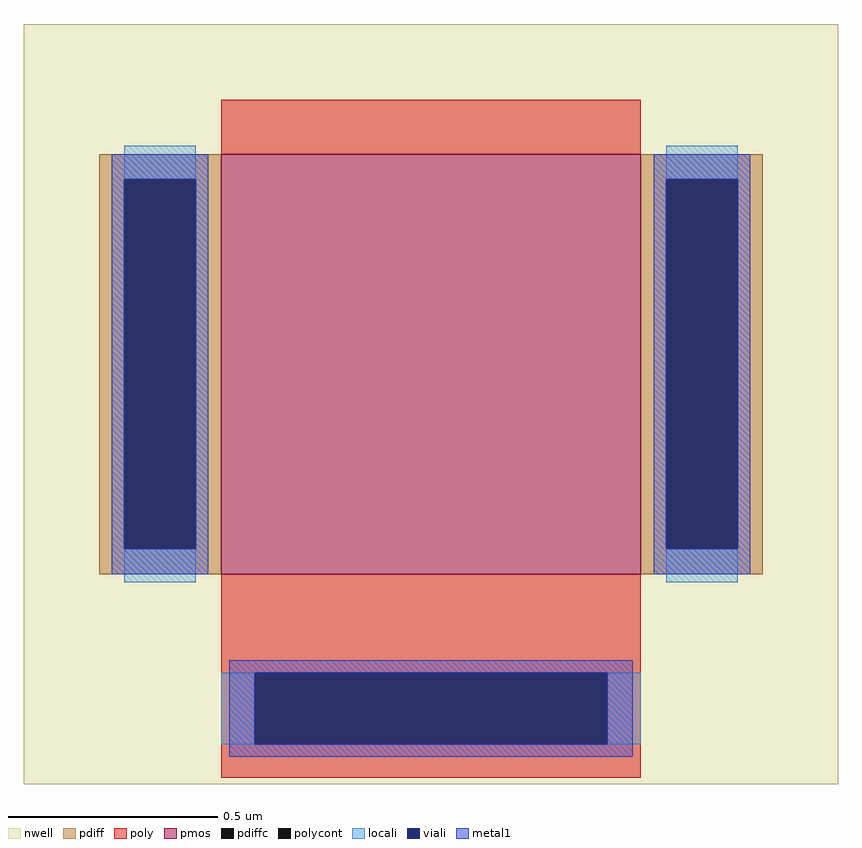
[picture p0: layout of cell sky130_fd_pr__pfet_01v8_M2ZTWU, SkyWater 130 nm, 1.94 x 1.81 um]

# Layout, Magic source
magic
tech sky130A
magscale 1 2
<< nwell >>
rect -194 -164 194 198
<< pmos >>
rect -100 -64 100 136
<< pdiff >>
rect -158 124 -100 136
rect -158 -52 -146 124
rect -112 -52 -100 124
rect -158 -64 -100 -52
rect 100 124 158 136
rect 100 -52 112 124
rect 146 -52 158 124
rect 100 -64 158 -52
<< pdiffc >>
rect -146 -52 -112 124
rect 112 -52 146 124
<< poly >>
rect -100 136 100 162
rect -100 -111 100 -64
rect -100 -145 -84 -111
rect 84 -145 100 -111
rect -100 -161 100 -145
<< polycont >>
rect -84 -145 84 -111
<< locali >>
rect -146 124 -112 140
rect -146 -68 -112 -52
rect 112 124 146 140
rect 112 -68 146 -52
rect -100 -145 -84 -111
rect 84 -145 100 -111
<< viali >>
rect -146 -52 -112 124
rect 112 -52 146 124
rect -84 -145 84 -111
<< metal1 >>
rect -152 124 -106 136
rect -152 -52 -146 124
rect -112 -52 -106 124
rect -152 -64 -106 -52
rect 106 124 152 136
rect 106 -52 112 124
rect 146 -52 152 124
rect 106 -64 152 -52
rect -96 -111 96 -105
rect -96 -145 -84 -111
rect 84 -145 96 -111
rect -96 -151 96 -145
<< properties >>
string gencell sky130_fd_pr__pfet_01v8
string library sky130
string parameters w 1 l 1 m 1 nf 1 diffcov 100 polycov 100 guard 0 glc 0 grc 0 gtc 0 gbc 0 tbcov 100 rlcov 100 topc 0 botc 1 poverlap 0 doverlap 0 lmin 0.15 wmin 0.42 compatible {sky130_fd_pr__pfet_01v8  sky130_fd_pr__pfet_01v8_lvt sky130_fd_pr__pfet_01v8_hvt  sky130_fd_pr__pfet_g5v0d10v5} full_metal 0 viasrc 100 viadrn 100 viagate 100 viagb 0 viagr 0 viagl 0 viagt 0
<< end >>
